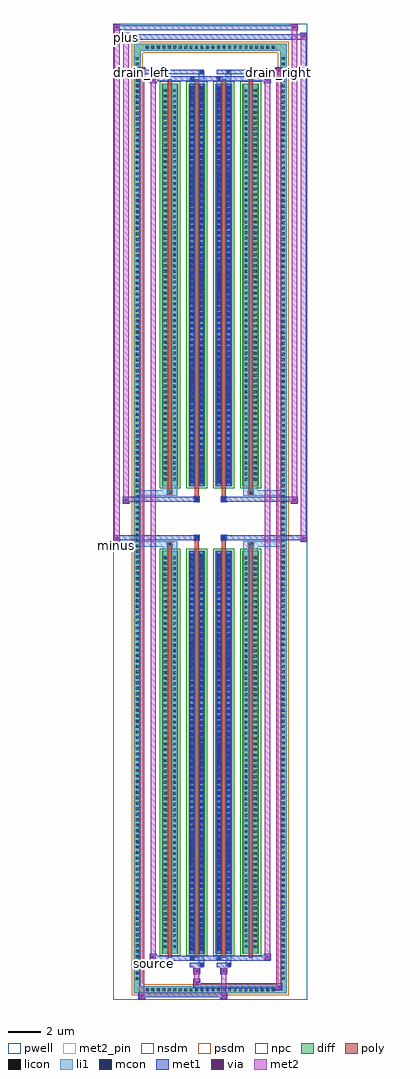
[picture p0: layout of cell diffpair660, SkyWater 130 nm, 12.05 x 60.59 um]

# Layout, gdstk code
import gdstk
lib = gdstk.Library(unit=1e-6, precision=5e-09)
def R(c, l, rs):  # rectangles x0, y0, x1, y1
    for r in rs: c.add(gdstk.rectangle(r[:2], r[2:], *l))
def A(c, l, x, y, w, h, nx, ny, dx, dy):  # array of equal rectangles
    R(c, l, [(x+i*dx, y+j*dy, x+i*dx+w, y+j*dy+h) for i in range(nx) for j in range(ny)])
def P(c, l, *ps):  # polygons
    for p in ps: c.add(gdstk.Polygon(p, *l))
pwell = (64, 44)
diff = (65, 20)
poly = (66, 20)
licon = (66, 44)
li1 = (67, 20)
mcon = (67, 44)
met1 = (68, 20)
via = (68, 44)
met2_pin = (69, 16)
met2 = (69, 20)
nsdm = (93, 44)
psdm = (94, 20)
npc = (95, 20)

diffpair660 = lib.new_cell('diffpair660')
R(diffpair660, pwell, [(-6.01,-29.86,6.01,30.73), (-3.33,-28.05,-0.01,-0.825), (0.01,-28.05,3.33,-0.825), (-3.33,0.825,-0.01,28.05), (0.01,0.825,3.33,28.05)])
A(diffpair660, diff, -4.115, -29.46, 0.41, 0.41, 24, 2, 0.34, 58.51)
A(diffpair660, diff, -4.74, -28.765, 0.41, 0.41, 1, 169, 0, 0.34)
A(diffpair660, diff, 4.33, -28.765, 0.41, 0.41, 1, 169, 0, 0.34)
A(diffpair660, diff, -3.02, -27.005, 1.03, 25, 4, 2, 1.67, 29.01)
R(diffpair660, diff, [(-4.115,-29.46,4.115,-29.05), (-4.74,-28.765,-4.33,28.765), (4.33,-28.765,4.74,28.765), (-4.115,29.05,4.115,29.46)])
P(diffpair660, diff, [(4.74,29.46),(-4.74,29.46),(-4.74,-29.05),(-4.33,-29.05),(-4.33,29.05),(4.33,29.05),(4.33,-29.05),(-4.33,-29.05),(-4.74,-29.05),(-4.74,-29.46),(4.74,-29.46)])
A(diffpair660, poly, -2.63, -27.255, 0.25, 25.5, 4, 2, 1.67, 29.01)
R(diffpair660, poly, [(-2.67,-1.755,-2.34,-1.425), (-2.67,-1.755,-2.34,-1.425), (-0.96,-1.755,-0.71,-1.355), (0.71,-1.755,0.96,-1.355), (2.34,-1.755,2.67,-1.425), (2.34,-1.755,2.67,-1.425), (-1,-1.355,-0.67,-1.025), (-1,-1.355,-0.67,-1.025), (0.67,-1.355,1,-1.025), (0.67,-1.355,1,-1.025), (-1,1.025,-0.67,1.355), (-1,1.025,-0.67,1.355), (0.67,1.025,1,1.355), (0.67,1.025,1,1.355), (-0.96,1.355,-0.71,1.755), (0.71,1.355,0.96,1.755), (-2.67,1.425,-2.34,1.755), (-2.67,1.425,-2.34,1.755), (2.34,1.425,2.67,1.755), (2.34,1.425,2.67,1.755)])
A(diffpair660, licon, -3.995, -29.34, 0.17, 0.17, 24, 2, 0.34, 58.51)
A(diffpair660, licon, -4.62, -28.645, 0.17, 0.17, 1, 169, 0, 0.34)
A(diffpair660, licon, 4.45, -28.645, 0.17, 0.17, 1, 169, 0, 0.34)
A(diffpair660, licon, -2.88, -26.66, 0.17, 0.17, 1, 72, 0, 0.34)
A(diffpair660, licon, -2.3, -26.66, 0.17, 0.17, 1, 72, 0, 0.34)
A(diffpair660, licon, -1.21, -26.66, 0.17, 0.17, 1, 72, 0, 0.34)
A(diffpair660, licon, -0.63, -26.66, 0.17, 0.17, 1, 72, 0, 0.34)
A(diffpair660, licon, 0.46, -26.66, 0.17, 0.17, 1, 72, 0, 0.34)
A(diffpair660, licon, 1.04, -26.66, 0.17, 0.17, 1, 72, 0, 0.34)
A(diffpair660, licon, 2.13, -26.66, 0.17, 0.17, 1, 72, 0, 0.34)
A(diffpair660, licon, 2.71, -26.66, 0.17, 0.17, 1, 72, 0, 0.34)
A(diffpair660, licon, -2.88, 2.35, 0.17, 0.17, 1, 72, 0, 0.34)
A(diffpair660, licon, -2.3, 2.35, 0.17, 0.17, 1, 72, 0, 0.34)
A(diffpair660, licon, -1.21, 2.35, 0.17, 0.17, 1, 72, 0, 0.34)
A(diffpair660, licon, -0.63, 2.35, 0.17, 0.17, 1, 72, 0, 0.34)
A(diffpair660, licon, 0.46, 2.35, 0.17, 0.17, 1, 72, 0, 0.34)
A(diffpair660, licon, 1.04, 2.35, 0.17, 0.17, 1, 72, 0, 0.34)
A(diffpair660, licon, 2.13, 2.35, 0.17, 0.17, 1, 72, 0, 0.34)
A(diffpair660, licon, 2.71, 2.35, 0.17, 0.17, 1, 72, 0, 0.34)
R(diffpair660, licon, [(-2.59,-1.675,-2.42,-1.505), (2.42,-1.675,2.59,-1.505), (-0.92,-1.275,-0.75,-1.105), (0.75,-1.275,0.92,-1.105), (-0.92,1.105,-0.75,1.275), (0.75,1.105,0.92,1.275), (-2.59,1.505,-2.42,1.675), (2.42,1.505,2.59,1.675)])
A(diffpair660, li1, -4.075, -29.42, 0.33, 0.33, 24, 2, 0.34, 58.51)
A(diffpair660, li1, -4.7, -28.725, 0.33, 0.33, 1, 169, 0, 0.34)
A(diffpair660, li1, 4.37, -28.725, 0.33, 0.33, 1, 169, 0, 0.34)
A(diffpair660, li1, -1.21, -26.83, 0.17, 0.17, 1, 69, 0, 0.36)
A(diffpair660, li1, -0.63, -26.83, 0.17, 0.17, 1, 69, 0, 0.36)
A(diffpair660, li1, 0.46, -26.83, 0.17, 0.17, 1, 69, 0, 0.36)
A(diffpair660, li1, 1.04, -26.83, 0.17, 0.17, 1, 69, 0, 0.36)
A(diffpair660, li1, -2.96, -26.74, 0.33, 0.33, 1, 72, 0, 0.34)
A(diffpair660, li1, -2.38, -26.74, 0.33, 0.33, 1, 72, 0, 0.34)
A(diffpair660, li1, -1.29, -26.74, 0.33, 0.33, 1, 72, 0, 0.34)
A(diffpair660, li1, -0.71, -26.74, 0.33, 0.33, 1, 72, 0, 0.34)
A(diffpair660, li1, 0.38, -26.74, 0.33, 0.33, 1, 72, 0, 0.34)
A(diffpair660, li1, 0.96, -26.74, 0.33, 0.33, 1, 72, 0, 0.34)
A(diffpair660, li1, 2.05, -26.74, 0.33, 0.33, 1, 72, 0, 0.34)
A(diffpair660, li1, 2.63, -26.74, 0.33, 0.33, 1, 72, 0, 0.34)
A(diffpair660, li1, -1.21, 2.18, 0.17, 0.17, 1, 69, 0, 0.36)
A(diffpair660, li1, -0.63, 2.18, 0.17, 0.17, 1, 69, 0, 0.36)
A(diffpair660, li1, 0.46, 2.18, 0.17, 0.17, 1, 69, 0, 0.36)
A(diffpair660, li1, 1.04, 2.18, 0.17, 0.17, 1, 69, 0, 0.36)
A(diffpair660, li1, -2.96, 2.27, 0.33, 0.33, 1, 72, 0, 0.34)
A(diffpair660, li1, -2.38, 2.27, 0.33, 0.33, 1, 72, 0, 0.34)
A(diffpair660, li1, -1.29, 2.27, 0.33, 0.33, 1, 72, 0, 0.34)
A(diffpair660, li1, -0.71, 2.27, 0.33, 0.33, 1, 72, 0, 0.34)
A(diffpair660, li1, 0.38, 2.27, 0.33, 0.33, 1, 72, 0, 0.34)
A(diffpair660, li1, 0.96, 2.27, 0.33, 0.33, 1, 72, 0, 0.34)
A(diffpair660, li1, 2.05, 2.27, 0.33, 0.33, 1, 72, 0, 0.34)
A(diffpair660, li1, 2.63, 2.27, 0.33, 0.33, 1, 72, 0, 0.34)
R(diffpair660, li1, [(-4.74,-29.46,-4.33,-29.05), (-4.74,-29.46,-4.33,-29.05), (-4.33,-29.46,4.33,-29.05), (4.33,-29.46,4.74,-29.05), (4.33,-29.46,4.74,-29.05), (-4.74,-29.05,-4.33,29.05), (4.33,-29.05,4.74,29.05), (-0.71,-27.81,-0.38,-27.005), (-0.63,-27.81,-0.46,-27.64), (0.96,-27.81,1.29,-27.005), (1.04,-27.81,1.21,-27.64), (-1.29,-27.38,-0.96,-27.005), (-1.21,-27.38,-1.04,-27.21), (0.38,-27.38,0.71,-27.005), (0.46,-27.38,0.63,-27.21), (-2.96,-27.005,-2.63,-2.005), (-2.38,-27.005,-2.05,-2.005), (-1.29,-27.005,-0.96,-2.005), (-0.71,-27.005,-0.38,-2.005), (0.38,-27.005,0.71,-2.005), (0.96,-27.005,1.29,-2.005), (2.05,-27.005,2.38,-2.005), (2.63,-27.005,2.96,-2.005), (-1.21,-26.83,-1.04,-2.18), (-0.63,-26.83,-0.46,-2.18), (0.46,-26.83,0.63,-2.18), (1.04,-26.83,1.21,-2.18), (-2.96,-2.005,-2.63,-1.425), (-2.38,-2.005,-2.05,-1.425), (2.05,-2.005,2.38,-1.425), (2.63,-2.005,2.96,-1.425), (-4.74,-1.755,-2.67,-1.425), (-2.96,-1.755,-2.67,-1.425), (-2.67,-1.755,-2.34,-1.425), (-2.34,-1.755,-2.05,-1.425), (2.05,-1.755,2.34,-1.425), (2.34,-1.755,2.67,-1.425), (2.34,-1.755,4.74,-1.425), (2.67,-1.755,2.96,-1.425), (-1,-1.355,-0.67,-1.025), (0.67,-1.355,1,-1.025), (-1,1.025,-0.67,1.355), (0.67,1.025,1,1.355), (-4.74,1.425,-2.67,1.755), (-2.96,1.425,-2.67,1.755), (-2.96,1.425,-2.63,2.005), (-2.67,1.425,-2.34,1.755), (-2.38,1.425,-2.05,2.005), (-2.34,1.425,-2.05,1.755), (2.05,1.425,2.34,1.755), (2.05,1.425,2.38,2.005), (2.34,1.425,2.67,1.755), (2.34,1.425,4.74,1.755), (2.63,1.425,2.96,2.005), (2.67,1.425,2.96,1.755), (-2.96,2.005,-2.63,27.005), (-2.38,2.005,-2.05,27.005), (-1.29,2.005,-0.96,27.005), (-0.71,2.005,-0.38,27.005), (0.38,2.005,0.71,27.005), (0.96,2.005,1.29,27.005), (2.05,2.005,2.38,27.005), (2.63,2.005,2.96,27.005), (-1.21,2.18,-1.04,26.83), (-0.63,2.18,-0.46,26.83), (0.46,2.18,0.63,26.83), (1.04,2.18,1.21,26.83), (-1.29,27.005,-0.96,27.38), (-0.71,27.005,-0.38,27.81), (0.38,27.005,0.71,27.38), (0.96,27.005,1.29,27.81), (-1.21,27.21,-1.04,27.38), (0.46,27.21,0.63,27.38), (-0.63,27.64,-0.46,27.81), (1.04,27.64,1.21,27.81), (-4.74,29.05,-4.33,29.46), (-4.74,29.05,-4.33,29.46), (-4.33,29.05,4.33,29.46), (4.33,29.05,4.74,29.46), (4.33,29.05,4.74,29.46)])
A(diffpair660, mcon, -1.21, -26.83, 0.17, 0.17, 1, 69, 0, 0.36)
A(diffpair660, mcon, -0.63, -26.83, 0.17, 0.17, 1, 69, 0, 0.36)
A(diffpair660, mcon, 0.46, -26.83, 0.17, 0.17, 1, 69, 0, 0.36)
A(diffpair660, mcon, 1.04, -26.83, 0.17, 0.17, 1, 69, 0, 0.36)
A(diffpair660, mcon, -1.21, 2.18, 0.17, 0.17, 1, 69, 0, 0.36)
A(diffpair660, mcon, -0.63, 2.18, 0.17, 0.17, 1, 69, 0, 0.36)
A(diffpair660, mcon, 0.46, 2.18, 0.17, 0.17, 1, 69, 0, 0.36)
A(diffpair660, mcon, 1.04, 2.18, 0.17, 0.17, 1, 69, 0, 0.36)
R(diffpair660, mcon, [(-0.63,-27.81,-0.46,-27.64), (1.04,-27.81,1.21,-27.64), (-1.21,-27.38,-1.04,-27.21), (0.46,-27.38,0.63,-27.21), (-0.92,-1.275,-0.75,-1.105), (0.75,-1.275,0.92,-1.105), (-0.92,1.105,-0.75,1.275), (0.75,1.105,0.92,1.275), (-1.21,27.21,-1.04,27.38), (0.46,27.21,0.63,27.38), (-0.63,27.64,-0.46,27.81), (1.04,27.64,1.21,27.81)])
A(diffpair660, met1, -1.27, -26.89, 0.29, 0.29, 1, 69, 0, 0.36)
A(diffpair660, met1, -0.69, -26.89, 0.29, 0.29, 1, 69, 0, 0.36)
A(diffpair660, met1, 0.4, -26.89, 0.29, 0.29, 1, 69, 0, 0.36)
A(diffpair660, met1, 0.98, -26.89, 0.29, 0.29, 1, 69, 0, 0.36)
A(diffpair660, met1, -1.27, 2.12, 0.29, 0.29, 1, 69, 0, 0.36)
A(diffpair660, met1, -0.69, 2.12, 0.29, 0.29, 1, 69, 0, 0.36)
A(diffpair660, met1, 0.4, 2.12, 0.29, 0.29, 1, 69, 0, 0.36)
A(diffpair660, met1, 0.98, 2.12, 0.29, 0.29, 1, 69, 0, 0.36)
R(diffpair660, met1, [(-4.47,-29.86,-4.04,-29.43), (0.62,-29.86,1.05,-29.43), (-4.47,-29.72,1.05,-29.43), (4.04,-29.29,4.47,-28.86), (-1.05,-29.15,4.47,-28.86), (-1.05,-29.01,-0.62,-28.58), (-1.05,-28.3,-0.62,-27.87), (0.62,-28.3,1.05,-27.87), (-1.27,-27.87,-0.4,-27.58), (-0.69,-27.87,-0.4,-27.58), (0.4,-27.87,1.27,-27.58), (0.98,-27.87,1.27,-27.58), (-3.76,-27.44,-3.33,-27.01), (-3.76,-27.44,-1.27,-27.15), (-1.27,-27.44,-0.98,-27.15), (-1.27,-27.44,-0.4,-27.15), (-0.4,-27.44,0.4,-27.15), (0.4,-27.44,0.69,-27.15), (0.4,-27.44,1.27,-27.15), (1.27,-27.44,3.76,-27.15), (3.33,-27.44,3.76,-27.01), (-1.27,-27.005,-0.98,-2.005), (-0.69,-27.005,-0.4,-2.005), (0.4,-27.005,0.69,-2.005), (0.98,-27.005,1.27,-2.005), (-6.01,-1.455,-5.58,-1.025), (5.58,-1.455,6.01,-1.025), (-6.01,-1.355,-0.67,-1.025), (-1,-1.355,-0.67,-1.025), (0.67,-1.355,1,-1.025), (0.67,-1.355,6.01,-1.025), (-0.98,-1.335,-0.69,-1.045), (0.69,-1.335,0.98,-1.045), (-5.44,0.925,-5.01,1.355), (5.01,0.925,5.44,1.355), (-5.44,1.025,-1,1.355), (-1,1.025,-0.67,1.355), (0.67,1.025,1,1.355), (1,1.025,5.44,1.355), (-0.98,1.045,-0.69,1.335), (0.69,1.045,0.98,1.335), (-1.27,2.005,-0.98,27.005), (-0.69,2.005,-0.4,27.005), (0.4,2.005,0.69,27.005), (0.98,2.005,1.27,27.005), (-3.76,27.01,-3.33,27.44), (3.33,27.01,3.76,27.44), (-3.76,27.15,-1.27,27.44), (-1.27,27.15,-0.98,27.44), (-1.27,27.15,-0.4,27.44), (-0.4,27.15,0.4,27.44), (0.4,27.15,0.69,27.44), (0.4,27.15,1.27,27.44), (1.27,27.15,3.76,27.44), (-4.47,27.58,-4.04,28.01), (-4.47,27.58,-1.27,27.87), (-1.27,27.58,-0.4,27.87), (-0.69,27.58,-0.4,27.87), (0.4,27.58,1.27,27.87), (0.98,27.58,1.27,27.87), (1.27,27.58,4.47,27.87), (4.04,27.58,4.47,28.01), (-5.44,29.73,-5.01,30.16), (-5.44,29.73,-3.33,30.06), (-3.33,29.73,3.33,30.06), (3.33,29.73,6.01,30.06), (5.58,29.73,6.01,30.16), (-6.01,30.3,-5.58,30.73), (-6.01,30.3,-3.33,30.63), (-3.33,30.3,3.33,30.63), (3.33,30.3,5.44,30.63), (5.01,30.3,5.44,30.73)])
R(diffpair660, via, [(-4.33,-29.72,-4.18,-29.57), (0.76,-29.72,0.91,-29.57), (4.18,-29.15,4.33,-29), (-0.91,-28.87,-0.76,-28.72), (-0.91,-28.16,-0.76,-28.01), (0.76,-28.16,0.91,-28.01), (-3.62,-27.3,-3.47,-27.15), (3.47,-27.3,3.62,-27.15), (-5.87,-1.315,-5.72,-1.165), (5.72,-1.315,5.87,-1.165), (-5.3,1.065,-5.15,1.215), (5.15,1.065,5.3,1.215), (-3.62,27.15,-3.47,27.3), (3.47,27.15,3.62,27.3), (-4.33,27.72,-4.18,27.87), (4.18,27.72,4.33,27.87), (-5.3,29.87,-5.15,30.02), (5.72,29.87,5.87,30.02), (-5.87,30.44,-5.72,30.59), (5.15,30.44,5.3,30.59)])
R(diffpair660, met2_pin, [(-3.795,-27.89,-3.295,-27.39), (-6.045,-1.905,-5.545,-1.405), (-4.505,27.46,-4.005,27.96), (4.005,27.46,4.505,27.96), (-5.475,29.61,-4.975,30.11)])
R(diffpair660, met2, [(-4.42,-29.81,-4.09,-29.48), (-4.42,-29.81,-4.09,27.96), (0.67,-29.81,1,-29.48), (0.67,-29.48,1,-28.25), (4.09,-29.24,4.42,-28.91), (4.09,-29.24,4.42,27.96), (-1,-28.96,-0.67,-28.63), (-1,-28.63,-0.67,-28.25), (-1,-28.25,-0.67,-27.92), (0.67,-28.25,1,-27.92), (-3.71,-27.39,-3.38,-27.06), (-3.71,-27.39,-3.38,27.39), (3.38,-27.39,3.71,-27.06), (3.38,-27.39,3.71,27.39), (-5.96,-1.405,-5.63,-1.075), (-5.96,-1.405,-5.63,30.68), (5.63,-1.405,5.96,-1.075), (5.63,-1.405,5.96,30.11), (-5.39,0.975,-5.06,1.305), (-5.39,0.975,-5.06,30.11), (5.06,0.975,5.39,1.305), (5.06,0.975,5.39,30.68), (-3.71,27.06,-3.38,27.39), (3.38,27.06,3.71,27.39), (-4.42,27.63,-4.09,27.96), (4.09,27.63,4.42,27.96), (-5.39,29.78,-5.06,30.11), (5.63,29.78,5.96,30.11), (-5.96,30.35,-5.63,30.68), (5.06,30.35,5.39,30.68)])
P(diffpair660, met2, [(5.96,-1.405),(5.96,-1.405),(5.96,-1.075),(5.96,-1.075)],
  [(5.96,29.78),(5.96,29.78),(5.96,30.11),(5.96,30.11)],
  [(-5.63,-1.405),(-5.63,-1.405),(-5.63,-1.075),(-5.63,-1.075)],
  [(-5.63,30.35),(-5.63,30.35),(-5.63,30.68),(-5.63,30.68)],
  [(5.39,0.975),(5.39,0.975),(5.39,1.305),(5.39,1.305)],
  [(5.39,30.35),(5.39,30.35),(5.39,30.68),(5.39,30.68)],
  [(-5.06,0.975),(-5.06,0.975),(-5.06,1.305),(-5.06,1.305)],
  [(-5.06,29.78),(-5.06,29.78),(-5.06,30.11),(-5.06,30.11)],
  [(-4.09,-29.81),(-4.09,-29.81),(-4.09,-29.48),(-4.09,-29.48)],
  [(-4.09,27.63),(-4.09,27.63),(-4.09,27.96),(-4.09,27.96)],
  [(4.42,-29.24),(4.42,-29.24),(4.42,-28.91),(4.42,-28.91)],
  [(4.42,27.63),(4.42,27.63),(4.42,27.96),(4.42,27.96)],
  [(-3.38,-27.39),(-3.38,-27.39),(-3.38,-27.06),(-3.38,-27.06)],
  [(-3.38,27.06),(-3.38,27.06),(-3.38,27.39),(-3.38,27.39)],
  [(3.71,-27.39),(3.71,-27.39),(3.71,-27.06),(3.71,-27.06)],
  [(3.71,27.06),(3.71,27.06),(3.71,27.39),(3.71,27.39)])
A(diffpair660, nsdm, -3.15, -27.135, 1.29, 25.26, 4, 2, 1.67, 29.01)
P(diffpair660, psdm, [(4.87,29.59),(-4.87,29.59),(-4.87,-28.92),(-4.2,-28.92),(-4.2,28.92),(4.2,28.92),(4.2,-28.92),(-4.2,-28.92),(-4.87,-28.92),(-4.87,-29.59),(4.87,-29.59)])
R(diffpair660, npc, [(-2.69,-1.775,-2.32,-1.405), (2.32,-1.775,2.69,-1.405), (-1.02,-1.375,-0.65,-1.005), (0.65,-1.375,1.02,-1.005), (-1.02,1.005,-0.65,1.375), (0.65,1.005,1.02,1.375), (-2.69,1.405,-2.32,1.775), (2.32,1.405,2.69,1.775)])
diffpair660.add(gdstk.Label('minus', (-5.795,-1.655), layer=69, texttype=5))
diffpair660.add(gdstk.Label('drain_right', (4.255,27.71), layer=69, texttype=5))
diffpair660.add(gdstk.Label('drain_left', (-4.255,27.71), layer=69, texttype=5))
diffpair660.add(gdstk.Label('source', (-3.545,-27.64), layer=69, texttype=5))
diffpair660.add(gdstk.Label('plus', (-5.225,29.86), layer=69, texttype=5))

lib.write_gds('diffpair660.gds')
